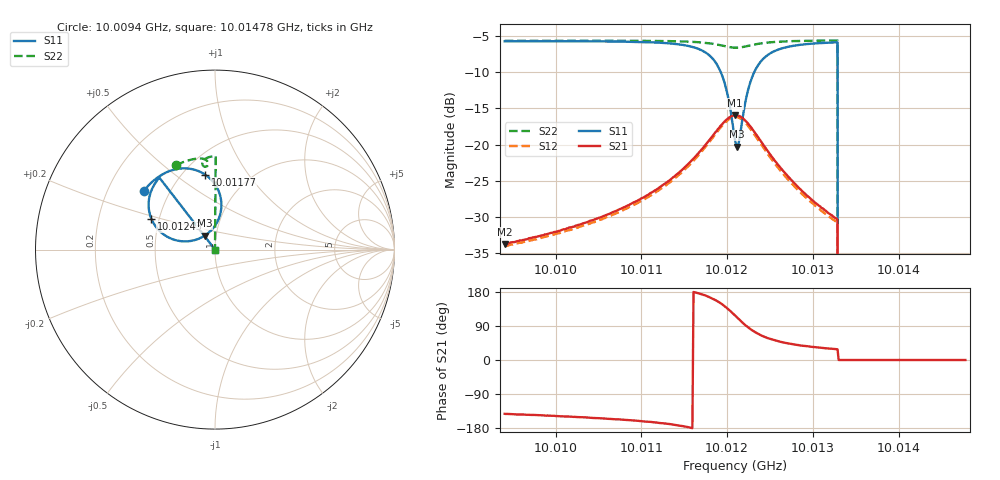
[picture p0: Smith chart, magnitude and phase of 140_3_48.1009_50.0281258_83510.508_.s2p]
#  HZ  S  RI  R  50.00
! Rohde & Schwarz Vector Network Analyzer
! Rohde-Schwarz,ZNB20-2Port,1311601062101988,3.16
! Created: UTC 12/23/2023, 3:48:40 AM
! freq[Hz]  re:S11  im:S11  re:S21  im:S21  re:S12  im:S12  re:S22  im:S22
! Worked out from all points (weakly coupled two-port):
!   401 points, 10.0094 GHz to 10.01478 GHz, reference 50 ohm
!   highest |S21| = -15.97 dB at 10.01209 GHz (marker M1); lowest = -33.7 dB at 10.0094 GHz (marker M2)
!   lowest |S11| = -20.3 dB at 10.01212 GHz (marker M3), VSWR 1.21, Z = 44.1 + j6.96 ohm
!   |S11| at or under -10 dB: 10.01192 GHz to 10.01232 GHz (393 kHz wide, 0.00393 % of centre); 10.01329 GHz to end of sweep
!   |S22| runs from - to -5.7 dB; largest |S21 - S12| = 0.0081
!   S11 on the Smith chart (normalised r, x): 10.0094 GHz: 0.36, +0.32; 10.01177 GHz: 0.64, +0.65; 10.01243 GHz: 0.45, +0.18; 10.01478 GHz: 1.00, +0.00
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1.0009405e10  -0.3956 0.3291  -0.0163 -0.0127  -0.0152 -0.0131  -0.2171 0.47
1.0010305e10  -0.3408 0.3853  -0.0249 -0.0138  -0.0234 -0.0143  -0.1615 0.493
1.0010762e10  -0.3004 0.4145  -0.0332 -0.014  -0.0313 -0.015  -0.1311 0.5017
1.0011205e10  -0.24 0.4421  -0.0489 -0.0122  -0.0463 -0.0142  -0.0986 0.5073
1.0011514e10  -0.1657 0.4528  -0.0702 -0.00524  -0.0675 -0.00852  -0.0728 0.5072
1.0011769e10  -0.0558 0.4184  -0.1008 0.0211  -0.0986 0.0156  -0.0485 0.498
1.0011876e10  0.00261 0.3596  -0.1136 0.0495  -0.1131 0.0427  -0.0402 0.4878
1.0011957e10  0.0335 0.2787  -0.1151 0.0825  -0.1161 0.0747  -0.0382 0.4768
1.0012011e10  0.032 0.2095  -0.106 0.108  -0.1081 0.1007  -0.0404 0.4693
1.0012091e10  -0.0235 0.105  -0.074 0.1407  -0.0769 0.1345  -0.0507 0.4618
1.0012118e10  -0.0567 0.0781  -0.059 0.1473  -0.0624 0.1411  -0.055 0.4615
1.0012145e10  -0.0944 0.059  -0.0427 0.1508  -0.0466 0.1448  -0.0591 0.4623
1.0012212e10  -0.191 0.047  -0.00465 0.146  -0.01 0.1409  -0.0675 0.4688
1.0012266e10  -0.2557 0.0663  0.0179 0.1331  0.0127 0.1286  -0.0705 0.4763
1.0012333e10  -0.3127 0.1077  0.0354 0.1131  0.0302 0.1095  -0.0701 0.4857
1.0012427e10  -0.354 0.1705  0.0466 0.0867  0.0413 0.0845  -0.0649 0.4964
1.0012669e10  -0.3669 0.2857  0.0449 0.0459  0.0409 0.0454  -0.0448 0.5112
1.0012991e10  -0.3383 0.3622  0.0341 0.0234  0.0313 0.024  -0.0182 0.5188
1.001326e10  -0.3125 0.3979  0.0273 0.0151  0.0252 0.0157  0.00212 0.521
1.0013327e10  0 0  0 0  0 0  0 0
1.0013891e10  0 0  0 0  0 0  0 0
1.0014778e10  0 0  0 0  0 0  0 0
